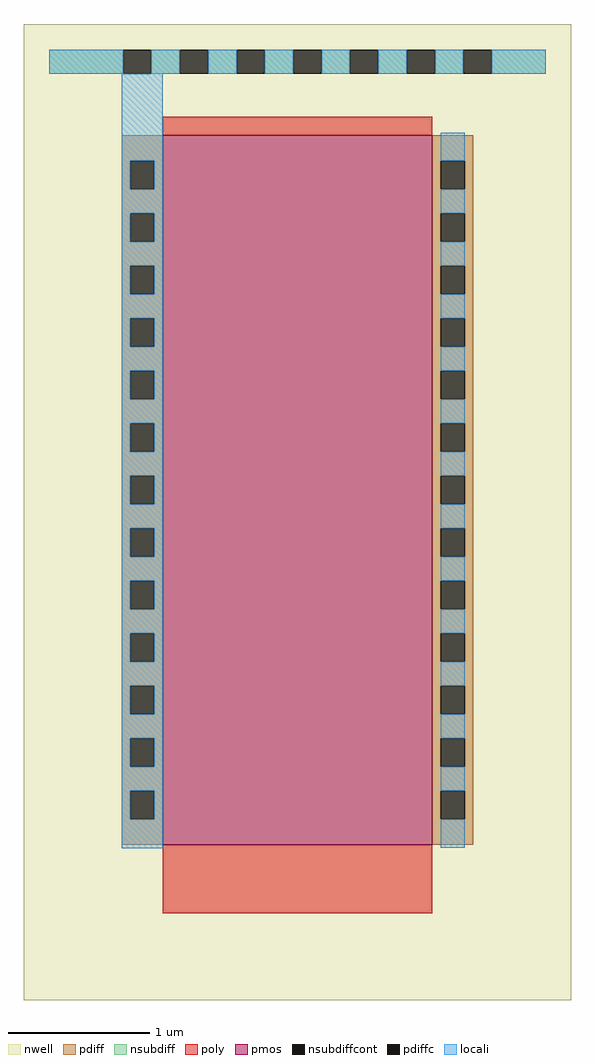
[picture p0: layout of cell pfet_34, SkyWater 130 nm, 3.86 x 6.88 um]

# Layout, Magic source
magic
tech sky130A
magscale 1 2
<< nwell >>
rect 0 -2 772 1374
<< pmos >>
rect 196 217 576 1217
<< pdiff >>
rect 138 1181 196 1217
rect 138 1141 150 1181
rect 184 1141 196 1181
rect 138 1107 196 1141
rect 138 1067 150 1107
rect 184 1067 196 1107
rect 138 1033 196 1067
rect 138 993 150 1033
rect 184 993 196 1033
rect 138 959 196 993
rect 138 919 150 959
rect 184 919 196 959
rect 138 885 196 919
rect 138 845 150 885
rect 184 845 196 885
rect 138 811 196 845
rect 138 771 150 811
rect 184 771 196 811
rect 138 737 196 771
rect 138 697 150 737
rect 184 697 196 737
rect 138 663 196 697
rect 138 623 150 663
rect 184 623 196 663
rect 138 589 196 623
rect 138 549 150 589
rect 184 549 196 589
rect 138 515 196 549
rect 138 475 150 515
rect 184 475 196 515
rect 138 441 196 475
rect 138 401 150 441
rect 184 401 196 441
rect 138 367 196 401
rect 138 327 150 367
rect 184 327 196 367
rect 138 293 196 327
rect 138 253 150 293
rect 184 253 196 293
rect 138 217 196 253
rect 576 1181 634 1217
rect 576 1141 588 1181
rect 622 1141 634 1181
rect 576 1107 634 1141
rect 576 1067 588 1107
rect 622 1067 634 1107
rect 576 1033 634 1067
rect 576 993 588 1033
rect 622 993 634 1033
rect 576 959 634 993
rect 576 919 588 959
rect 622 919 634 959
rect 576 885 634 919
rect 576 845 588 885
rect 622 845 634 885
rect 576 811 634 845
rect 576 771 588 811
rect 622 771 634 811
rect 576 737 634 771
rect 576 697 588 737
rect 622 697 634 737
rect 576 663 634 697
rect 576 623 588 663
rect 622 623 634 663
rect 576 589 634 623
rect 576 549 588 589
rect 622 549 634 589
rect 576 515 634 549
rect 576 475 588 515
rect 622 475 634 515
rect 576 441 634 475
rect 576 401 588 441
rect 622 401 634 441
rect 576 367 634 401
rect 576 327 588 367
rect 622 327 634 367
rect 576 293 634 327
rect 576 253 588 293
rect 622 253 634 293
rect 576 217 634 253
<< pdiffc >>
rect 150 1141 184 1181
rect 150 1067 184 1107
rect 150 993 184 1033
rect 150 919 184 959
rect 150 845 184 885
rect 150 771 184 811
rect 150 697 184 737
rect 150 623 184 663
rect 150 549 184 589
rect 150 475 184 515
rect 150 401 184 441
rect 150 327 184 367
rect 150 253 184 293
rect 588 1141 622 1181
rect 588 1067 622 1107
rect 588 993 622 1033
rect 588 919 622 959
rect 588 845 622 885
rect 588 771 622 811
rect 588 697 622 737
rect 588 623 622 663
rect 588 549 622 589
rect 588 475 622 515
rect 588 401 622 441
rect 588 327 622 367
rect 588 253 622 293
<< nsubdiff >>
rect 36 1304 140 1338
rect 180 1304 220 1338
rect 260 1304 300 1338
rect 340 1304 380 1338
rect 420 1304 460 1338
rect 500 1304 540 1338
rect 580 1304 620 1338
rect 660 1304 736 1338
<< nsubdiffcont >>
rect 140 1304 180 1338
rect 220 1304 260 1338
rect 300 1304 340 1338
rect 380 1304 420 1338
rect 460 1304 500 1338
rect 540 1304 580 1338
rect 620 1304 660 1338
<< poly >>
rect 196 1217 576 1243
rect 196 120 576 217
<< locali >>
rect 36 1304 140 1338
rect 180 1304 220 1338
rect 260 1304 300 1338
rect 340 1304 380 1338
rect 420 1304 460 1338
rect 500 1304 540 1338
rect 580 1304 620 1338
rect 660 1304 736 1338
rect 138 1181 196 1304
rect 138 1141 150 1181
rect 184 1141 196 1181
rect 138 1107 196 1141
rect 138 1067 150 1107
rect 184 1067 196 1107
rect 138 1033 196 1067
rect 138 993 150 1033
rect 184 993 196 1033
rect 138 959 196 993
rect 138 919 150 959
rect 184 919 196 959
rect 138 885 196 919
rect 138 845 150 885
rect 184 845 196 885
rect 138 811 196 845
rect 138 771 150 811
rect 184 771 196 811
rect 138 737 196 771
rect 138 697 150 737
rect 184 697 196 737
rect 138 663 196 697
rect 138 623 150 663
rect 184 623 196 663
rect 138 589 196 623
rect 138 549 150 589
rect 184 549 196 589
rect 138 515 196 549
rect 138 475 150 515
rect 184 475 196 515
rect 138 441 196 475
rect 138 401 150 441
rect 184 401 196 441
rect 138 367 196 401
rect 138 327 150 367
rect 184 327 196 367
rect 138 293 196 327
rect 138 253 150 293
rect 184 253 196 293
rect 138 212 196 253
rect 588 1181 622 1221
rect 588 1107 622 1141
rect 588 1033 622 1067
rect 588 959 622 993
rect 588 885 622 919
rect 588 811 622 845
rect 588 737 622 771
rect 588 663 622 697
rect 588 589 622 623
rect 588 515 622 549
rect 588 441 622 475
rect 588 367 622 401
rect 588 293 622 327
rect 588 213 622 253
<< end >>
